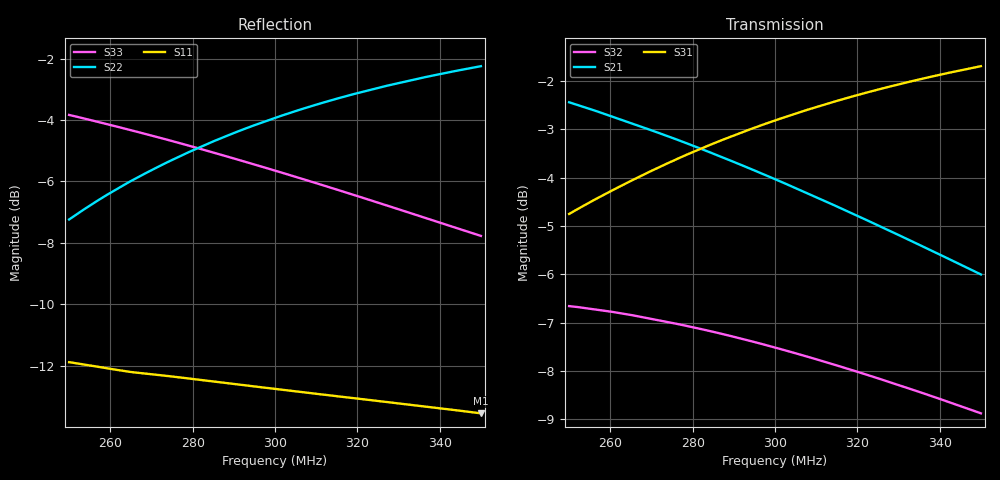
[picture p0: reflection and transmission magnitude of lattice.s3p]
!Created with skrf (http://scikit-rf.org).
# Hz S RI R 50.0
!freq ReS11 ImS11 ReS12 ImS12 ReS13 ImS13
! ReS21 ImS21 ReS22 ImS22 ReS23 ImS23
! ReS31 ImS31 ReS32 ImS32 ReS33 ImS33
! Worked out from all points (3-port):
!   801 points, 250 MHz to 350 MHz, reference 50 ohm
!   strongest paths, dB at 250 MHz, 275 MHz, 300 MHz, 325 MHz, 350 MHz:
!     S31: -4.7, -3.7, -2.8, -2.2, -1.7
!     S21: -2.4, -3.2, -4.0, -5.0, -6.0
!     S32: -6.7, -7.0, -7.5, -8.2, -8.9
!   lowest |S11| = -13.5 dB at 350 MHz (marker M1), VSWR 1.53, Z = 73.5 + j11.3 ohm
!   |S11| at or under -10 dB: start of sweep to end of sweep
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2.5e8  -0.00482 0.2546  0.0679 -0.7521  -0.0362 0.5773
       0.071 -0.7519  0.3905 -0.191  0.4543 0.0955
       -0.0402 0.5774  0.4539 0.0998  0.6281 -0.1381
2.62e8  0.0386 0.2442  -0.00501 -0.726  0.0167 0.6165
        -0.00181 -0.7261  0.4236 -0.2445  0.4564 0.0183
        0.0129 0.6169  0.4567 0.0229  0.5696 -0.2308
2.68e8  0.0578 0.2373  -0.038 -0.7102  0.045 0.6336
        -0.0349 -0.7104  0.4356 -0.2739  0.4516 -0.0179
        0.0413 0.634  0.4523 -0.0133  0.537 -0.2679
2.74e8  0.0766 0.2294  -0.0697 -0.6929  0.0747 0.6489
        -0.0664 -0.6933  0.445 -0.3046  0.4438 -0.052
        0.0711 0.6494  0.4448 -0.0475  0.5031 -0.2998
2.86625e8  0.1115 0.2082  -0.1295 -0.6512  0.1403 0.6744
           -0.1263 -0.6519  0.4552 -0.373  0.4189 -0.117
           0.137 0.6751  0.4206 -0.1127  0.43 -0.3503
3e8  0.1416 0.1818  -0.1823 -0.6018  0.2123 0.6915
     -0.1792 -0.6027  0.4517 -0.4477  0.3827 -0.1746
     0.2094 0.6922  0.3849 -0.1707  0.3549 -0.3829
3.115e8  0.162 0.1571  -0.2193 -0.557  0.2749 0.6982
         -0.2163 -0.558  0.4376 -0.5111  0.3462 -0.2146
         0.2723 0.6989  0.3488 -0.211  0.2946 -0.3971
3.2375e8  0.1784 0.1299  -0.2506 -0.5085  0.3409 0.6977
          -0.2476 -0.5096  0.4121 -0.576  0.3044 -0.2478
          0.3385 0.6982  0.3075 -0.2444  0.2362 -0.4016
3.3675e8  0.1903 0.1013  -0.2756 -0.4575  0.4091 0.6893
          -0.2722 -0.4588  0.3743 -0.6403  0.2588 -0.2731
          0.4063 0.6898  0.2625 -0.2701  0.1812 -0.3974
3.5e8  0.1971 0.0732  -0.2933 -0.4072  0.4752 0.6732
       -0.2896 -0.4089  0.3265 -0.6996  0.2131 -0.2896
       0.4723 0.6741  0.2172 -0.287  0.1331 -0.3865
